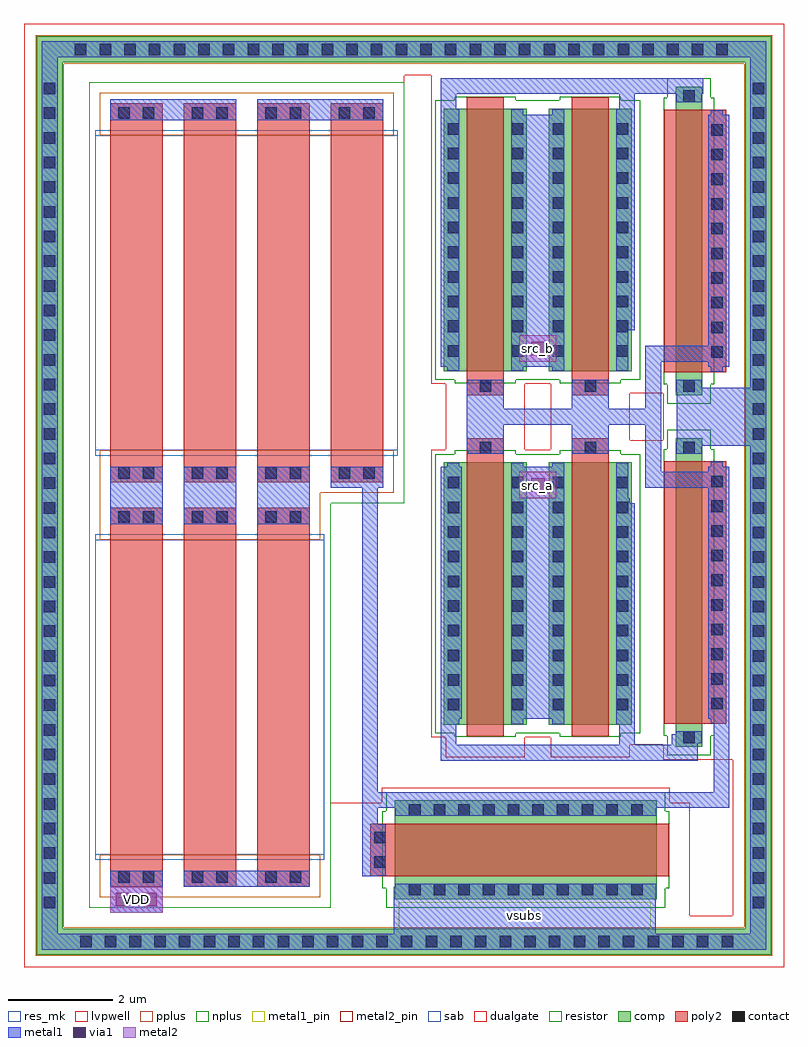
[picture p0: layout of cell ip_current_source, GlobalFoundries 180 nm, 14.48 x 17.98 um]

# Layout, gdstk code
from math import pi, radians
import gdstk
lib = gdstk.Library(unit=1e-6, precision=1e-09)
def R(c, l, rs):  # rectangles x0, y0, x1, y1
    for r in rs: c.add(gdstk.rectangle(r[:2], r[2:], *l))
def A(c, l, x, y, w, h, nx, ny, dx, dy):  # array of equal rectangles
    R(c, l, [(x+i*dx, y+j*dy, x+i*dx+w, y+j*dy+h) for i in range(nx) for j in range(ny)])
comp = (22, 0)
poly2 = (30, 0)
pplus = (31, 0)
nplus = (32, 0)
contact = (33, 0)
metal1 = (34, 0)
metal1_pin = (34, 10)
via1 = (35, 0)
metal2 = (36, 0)
metal2_pin = (36, 10)
sab = (49, 0)
dualgate = (55, 0)
resistor = (62, 0)
res_mk = (110, 5)
lvpwell = (204, 0)

ppolyf_u_1k_6p0_l3qvmb = lib.new_cell('ppolyf_u_1k_6p0_L3QVMB')
R(ppolyf_u_1k_6p0_l3qvmb, poly2, [(-0.5,-3.61,0.5,3.61)])
R(ppolyf_u_1k_6p0_l3qvmb, pplus, [(-0.7,-3.81,0.7,-3), (-0.7,3,0.7,3.81)])
R(ppolyf_u_1k_6p0_l3qvmb, contact, [(-0.345,-3.54,-0.125,-3.32), (0.125,-3.54,0.345,-3.32), (-0.345,3.32,-0.125,3.54), (0.125,3.32,0.345,3.54)])
R(ppolyf_u_1k_6p0_l3qvmb, metal1, [(-0.49,-3.545,0.49,-3.315), (-0.49,3.315,0.49,3.545)])
R(ppolyf_u_1k_6p0_l3qvmb, sab, [(-0.78,-3.1,0.78,3.1), (-0.78,-3,0.78,3)])
R(ppolyf_u_1k_6p0_l3qvmb, dualgate, [(-0.9,-4.01,0.9,4.01)])
R(ppolyf_u_1k_6p0_l3qvmb, resistor, [(-0.9,-4.01,0.9,4.01)])
R(ppolyf_u_1k_6p0_l3qvmb, res_mk, [(-0.78,-3,0.78,3), (-0.5,-3,0.5,3)])

nfet_06v0_ulq6tn = lib.new_cell('nfet_06v0_ULQ6TN')
R(nfet_06v0_ulq6tn, comp, [(-2.94,-0.37,2.94,0.13)])
R(nfet_06v0_ulq6tn, poly2, [(-2.5,-0.59,2.5,0.59)])
R(nfet_06v0_ulq6tn, nplus, [(-2.73,-0.6,2.73,-0.53), (-3.1,-0.53,3.1,0.29), (-2.73,0.29,2.73,0.36)])
A(nfet_06v0_ulq6tn, contact, -2.225, 0.3, 0.22, 0.22, 10, 1, 0.47, 0)
R(nfet_06v0_ulq6tn, contact, [(-2.87,-0.23,-2.65,-0.01), (2.65,-0.23,2.87,-0.01)])
R(nfet_06v0_ulq6tn, metal1, [(-2.875,-0.36,-2.645,0.12), (2.645,-0.36,2.875,0.12), (-2.49,0.295,2.49,0.525)])
R(nfet_06v0_ulq6tn, dualgate, [(-2.9,-0.99,2.9,-0.61), (-3.18,-0.61,3.18,0.37), (-2.9,0.37,2.9,0.99)])
R(nfet_06v0_ulq6tn, lvpwell, [(-3.1,-0.75,3.1,0.75)])

nfet_06v0_exm5w3 = lib.new_cell('nfet_06v0_EXM5W3')
R(nfet_06v0_exm5w3, comp, [(-0.79,-2.62,0.79,2.38)])
R(nfet_06v0_exm5w3, poly2, [(-0.35,-2.84,0.35,2.84)])
R(nfet_06v0_exm5w3, nplus, [(-0.58,-2.85,0.58,-2.78), (-0.95,-2.78,0.95,2.54), (-0.58,2.54,0.58,2.61)])
A(nfet_06v0_exm5w3, contact, -0.72, -2.345, 0.22, 0.22, 1, 10, 0, 0.47)
A(nfet_06v0_exm5w3, contact, 0.5, -2.345, 0.22, 0.22, 1, 10, 0, 0.47)
R(nfet_06v0_exm5w3, contact, [(-0.11,2.55,0.11,2.77)])
R(nfet_06v0_exm5w3, metal1, [(-0.725,-2.61,-0.495,2.37), (0.495,-2.61,0.725,2.37), (-0.34,2.545,0.34,2.775)])
R(nfet_06v0_exm5w3, dualgate, [(-0.75,-3.24,0.75,-2.86), (-1.03,-2.86,1.03,2.62), (-0.75,2.62,0.75,3.24)])
R(nfet_06v0_exm5w3, lvpwell, [(-0.95,-3,0.95,3)])

nfet_06v0_pj828u = lib.new_cell('nfet_06v0_PJ828U')
R(nfet_06v0_pj828u, comp, [(-0.94,-2.62,0.94,2.38)])
R(nfet_06v0_pj828u, poly2, [(-0.5,-2.84,0.5,2.84)])
R(nfet_06v0_pj828u, nplus, [(-0.73,-2.85,0.73,-2.78), (-1.1,-2.78,1.1,2.54), (-0.73,2.54,0.73,2.61)])
A(nfet_06v0_pj828u, contact, -0.87, -2.345, 0.22, 0.22, 1, 10, 0, 0.47)
A(nfet_06v0_pj828u, contact, 0.65, -2.345, 0.22, 0.22, 1, 10, 0, 0.47)
R(nfet_06v0_pj828u, contact, [(-0.345,2.55,-0.125,2.77), (0.125,2.55,0.345,2.77)])
R(nfet_06v0_pj828u, metal1, [(-0.875,-2.61,-0.645,2.37), (0.645,-2.61,0.875,2.37), (-0.49,2.545,0.49,2.775)])
R(nfet_06v0_pj828u, dualgate, [(-0.9,-3.24,0.9,-2.86), (-1.18,-2.86,1.18,2.62), (-0.9,2.62,0.9,3.24)])
R(nfet_06v0_pj828u, lvpwell, [(-1.1,-3,1.1,3)])

ip_current_source = lib.new_cell('ip_current_source')
R(ip_current_source, comp, [(8,9,22,9.5), (8,9.5,8.5,26), (21.5,9.5,22,26), (8,26,22,26.5)])
R(ip_current_source, pplus, [(7.98,8.98,22.02,9.52), (7.98,9.52,8.52,25.98), (21.48,9.52,22.02,25.98), (9.2,17.72,13.4,17.8), (7.98,25.98,22.02,26.52)])
R(ip_current_source, nplus, [(17.5,13.22,17.6,18.54), (17.5,19.96,17.6,25.28)])
A(ip_current_source, contact, 8.83, 9.14, 0.22, 0.22, 27, 1, 0.47, 0)
A(ip_current_source, contact, 8.14, 9.885, 0.22, 0.22, 1, 34, 0, 0.47)
A(ip_current_source, contact, 21.64, 9.885, 0.22, 0.22, 1, 34, 0, 0.47)
A(ip_current_source, contact, 8.73, 26.14, 0.22, 0.22, 27, 1, 0.47, 0)
A(ip_current_source, metal1, 9.4, 17.2, 1, 1.1, 3, 1, 1.4, 0)
R(ip_current_source, metal1, [(8.1,9.1,21.9,9.4), (8.1,9.4,8.4,26.1), (14.8,9.4,19.8,10.3), (21.6,9.4,21.9,18.7), (9.4,9.8,10.4,10.6), (10.8,10.3,13.2,10.6), (14.2,10.5,14.5,11.8), (15,11.7,16.1,11.8), (19.7,11.7,19.8,11.8), (14.2,11.8,21.2,12.1), (14.2,12.1,14.5,17.9), (20.9,12.1,21.2,13.5), (15.7,12.7,20.6,13), (15.7,13,16,13.5), (19.1,13,19.4,17.6), (20.1,13,20.6,13.2), (15.7,13.5,16.1,18.3), (17.1,13.5,18,18.3), (20.8,13.5,21.2,17.9), (19.2,17.6,19.3,17.7), (13.6,17.9,14.6,18.3), (19.6,17.9,21.2,18.2), (19.6,18.2,19.9,19.1), (20.8,18.2,21.2,18.3), (16.2,18.6,16.9,19.1), (18.2,18.6,18.9,19.1), (20.2,18.7,21.9,19.8), (16.2,19.1,19.9,19.4), (16.2,19.4,16.9,19.9), (18.2,19.4,18.9,19.9), (19.6,19.4,19.9,20.3), (20.2,19.8,20.4,19.9), (21.6,19.8,21.9,26.1), (15.7,20.2,16,25.4), (17.1,20.2,18,25), (20.8,20.2,21.2,20.3), (19.6,20.3,21.2,20.6), (20.8,20.6,21.2,25), (19.1,20.9,19.4,25.4), (9.4,24.9,11.8,25.3), (12.2,24.9,14.6,25.3), (15.7,25.4,20.7,25.7), (8.1,26.1,21.9,26.4)])
R(ip_current_source, metal1_pin, [(14.9,9.5,19.7,10)])
R(ip_current_source, via1, [(9.51,9.92,9.77,10.18), (10.03,9.92,10.29,10.18), (17.42,17.82,17.68,18.08), (17.42,20.42,17.68,20.68)])
R(ip_current_source, metal2, [(9.4,9.8,10.4,10.3), (17.2,17.7,17.9,18.2), (17.2,20.3,17.9,20.8)])
R(ip_current_source, metal2_pin, [(9.4,9.8,10.4,10.3), (17.2,17.7,17.9,18.2), (17.2,20.3,17.9,20.8)])
R(ip_current_source, dualgate, [(7.76,8.76,22.24,9.74), (7.76,9.74,20.44,9.82), (21.26,9.74,22.24,12.72), (7.76,9.82,14.58,9.9), (20.06,9.82,20.44,10.1), (7.76,9.9,9,25.62), (13.6,9.9,14.58,10.1), (13.6,10.1,13.96,11.9), (20.92,12.72,22.24,13), (19.3,13,19.56,13.14), (21.26,13,22.24,18.8), (19.3,18.62,19.56,18.8), (20.92,18.8,22.24,19.08), (19.94,19.08,22.24,19.42), (15.8,19.24,17.3,19.26), (17.8,19.24,19.3,19.26), (20.92,19.42,22.24,19.7), (19.3,19.7,19.56,19.88), (21.26,19.7,22.24,25.5), (15.52,25.36,15.8,25.74), (17.3,25.36,17.8,25.74), (19.3,25.36,19.56,25.5), (19.3,25.5,19.94,25.74), (20.92,25.5,22.24,25.76), (7.76,25.62,15,25.76), (15.52,25.74,19.94,25.76), (7.76,25.76,22.24,26.74)])
R(ip_current_source, lvpwell, [(8,9,22,13), (8,13,16,13.5), (16.1,13,22,13.5), (8,13.5,22,26.5)])
ip_current_source.add(gdstk.Reference(ppolyf_u_1k_6p0_l3qvmb, (14.1,21.61)))
ip_current_source.add(gdstk.Reference(ppolyf_u_1k_6p0_l3qvmb, (12.7,21.61)))
ip_current_source.add(gdstk.Reference(ppolyf_u_1k_6p0_l3qvmb, (11.3,21.61)))
ip_current_source.add(gdstk.Reference(ppolyf_u_1k_6p0_l3qvmb, (9.9,21.61)))
ip_current_source.add(gdstk.Reference(ppolyf_u_1k_6p0_l3qvmb, (12.7,13.91)))
ip_current_source.add(gdstk.Reference(ppolyf_u_1k_6p0_l3qvmb, (11.3,13.91)))
ip_current_source.add(gdstk.Reference(ppolyf_u_1k_6p0_l3qvmb, (9.9,13.91)))
ip_current_source.add(gdstk.Reference(nfet_06v0_ulq6tn, (20.55,22.6), rotation=3*pi/2))
ip_current_source.add(gdstk.Reference(nfet_06v0_exm5w3, (16.55,22.5), rotation=pi))
ip_current_source.add(gdstk.Reference(nfet_06v0_exm5w3, (18.55,16)))
ip_current_source.add(gdstk.Reference(nfet_06v0_ulq6tn, (20.55,15.9), rotation=3*pi/2))
ip_current_source.add(gdstk.Reference(nfet_06v0_exm5w3, (18.55,22.5), rotation=pi))
ip_current_source.add(gdstk.Reference(nfet_06v0_exm5w3, (16.55,16)))
ip_current_source.add(gdstk.Reference(nfet_06v0_pj828u, (17.2,11), rotation=pi/2))
ip_current_source.add(gdstk.Label('VDD', (9.9,10.05), layer=36, texttype=10))
ip_current_source.add(gdstk.Label('vsubs', (17.3,9.75), layer=34, texttype=10))
ip_current_source.add(gdstk.Label('src_b', (17.55,20.55), layer=36, texttype=10))
ip_current_source.add(gdstk.Label('src_a', (17.55,17.95), layer=36, texttype=10))

lib.write_gds('ip_current_source.gds')
